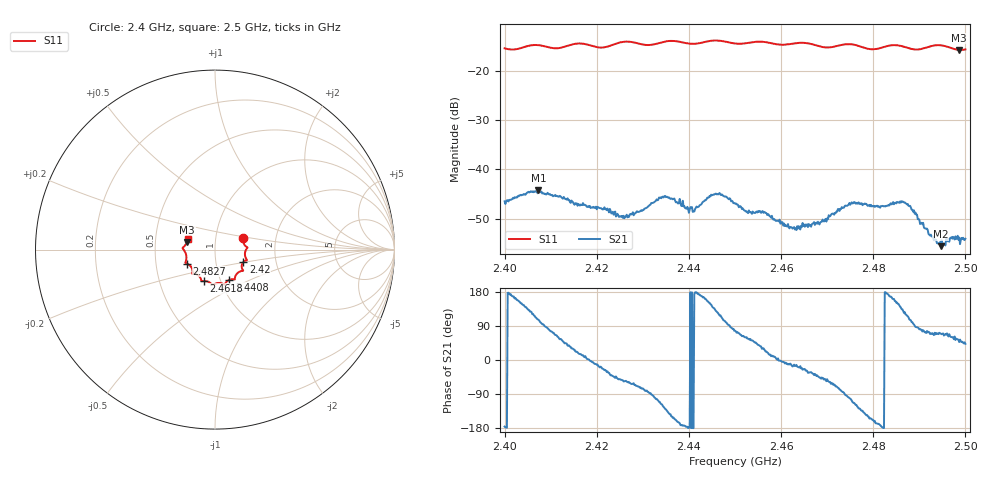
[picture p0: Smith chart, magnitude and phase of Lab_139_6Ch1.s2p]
# Hz S RI R 50
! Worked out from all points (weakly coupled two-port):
!   601 points, 2.4 GHz to 2.5 GHz, reference 50 ohm
!   highest |S21| = -44.26 dB at 2.4073 GHz (marker M1); lowest = -55.6 dB at 2.4947 GHz (marker M2)
!   lowest |S11| = -15.8 dB at 2.4987 GHz (marker M3), VSWR 1.39, Z = 36.4 + j3.16 ohm
!   |S11| at or under -10 dB: start of sweep to end of sweep
!   S12 and S22 are empty: the file has one direction only
!   S11 on the Smith chart (normalised r, x): 2.4 GHz: 1.36, +0.17; 2.42 GHz: 1.36, -0.19; 2.4408 GHz: 1.10, -0.38; 2.4618 GHz: 0.84, -0.30; 2.4827 GHz: 0.72, -0.12; 2.5 GHz: 0.73, +0.09
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2.4e9  0.156 0.0619  -0.00473 -0.000349  0 0  0 0
2.407333e9  0.1806 0.0102  -0.00174 0.00587  0 0  0 0
2.411333e9  0.1667 -0.0214  0.00234 0.00484  0 0  0 0
2.416667e9  0.1782 -0.0592  0.00423 0.00103  0 0  0 0
2.42e9  0.1582 -0.0692  0.00384 -0.000855  0 0  0 0
2.4265e9  0.1572 -0.1178  0.00187 -0.00292  0 0  0 0
2.433333e9  0.1119 -0.152  -0.00143 -0.00469  0 0  0 0
2.435167e9  0.1107 -0.1641  -0.00359 -0.00388  0 0  0 0
2.440833e9  0.0791 -0.1687  -0.00371 -2.17e-05  0 0  0 0
2.446167e9  0.0512 -0.1951  -0.0033 0.00455  0 0  0 0
2.45e9  0.0278 -0.1858  0.000986 0.0044  0 0  0 0
2.456333e9  -0.0156 -0.1944  0.00327 0.00175  0 0  0 0
2.461833e9  -0.0603 -0.175  0.00247 -0.00052  0 0  0 0
2.466667e9  -0.077 -0.1684  0.00231 -0.00155  0 0  0 0
2.475333e9  -0.1266 -0.1338  -0.00136 -0.00443  0 0  0 0
2.482667e9  -0.1571 -0.0779  -0.00421 9.13e-05  0 0  0 0
2.483333e9  -0.1613 -0.0763  -0.00432 0.00063  0 0  0 0
2.4875e9  -0.1603 -0.0557  -0.00191 0.00402  0 0  0 0
2.4925e9  -0.1764 0.00179  0.000752 0.00205  0 0  0 0
2.494667e9  -0.1799 0.0103  0.00058 0.00156  0 0  0 0
2.498667e9  -0.1559 0.0422  0.00138 0.0015  0 0  0 0
2.5e9  -0.1518 0.0615  0.00146 0.00135  0 0  0 0
